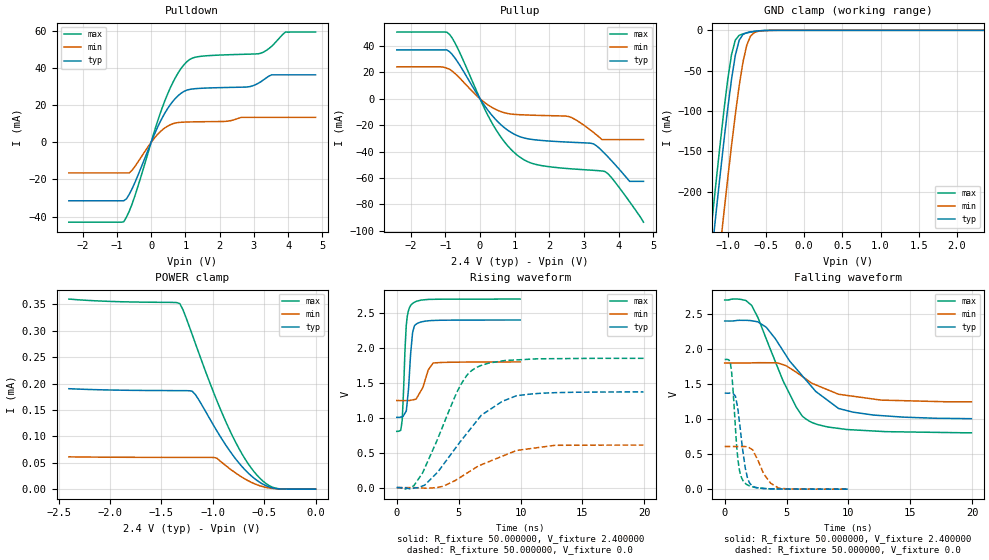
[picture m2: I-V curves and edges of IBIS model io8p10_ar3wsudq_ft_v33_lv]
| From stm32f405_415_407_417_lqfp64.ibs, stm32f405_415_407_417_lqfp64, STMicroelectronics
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|   Model io8p10_ar3wsudq_ft_v33_lv
[Model]  io8p10_ar3wsudq_ft_v33_lv
Model_type I/O
Polarity   Non-Inverting
Enable   Active-Low
Vinl =   0.720000V
Vinh =   1.680000V
Vmeas =  1.200000V
Cref =   40.000000pF
Rref =   100.000000M
Vref =   0.0V
C_comp   3.739400pF   3.690400pF   3.817400pF
[Temperature Range]   25.000000   0.125000k   -40.000000
[Pullup Reference]   2.400000V   1.800000V   2.700000V
[Pulldown Reference]   0.0V   0.0V   0.0V
[POWER Clamp Reference]   2.400000V   1.800000V   2.700000V
[GND Clamp Reference]   0.0V   0.0V   0.0V
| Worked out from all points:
|   slope of the pulldown table from 0 to 0.36 V, typ, clamps not added: 25 ohm
|   slope of the pullup table from 0 to 0.36 V, typ, clamps not added: 27.7 ohm
|   GND clamp passes 1 mA (typ) near -0.62 V on its own axis
|   rising waveform, R_fixture 50.000000, V_fixture 2.400000: 20-80 % time 349ps typ, 703ps min, 272ps max; typ from 1.01 V to 2.4 V
|   rising waveform, R_fixture 50.000000, V_fixture 0.0: 20-80 % time 3.81ns typ, 4.15ns min, 2.72ns max; typ from 0 V to 1.37 V
|   falling waveform, R_fixture 50.000000, V_fixture 2.400000: 20-80 % time 4.01ns typ, 3.55ns min, 2.78ns max; typ from 2.4 V to 1.01 V
|   falling waveform, R_fixture 50.000000, V_fixture 0.0: 20-80 % time 600ps typ, 1.08ns min, 462ps max; typ from 1.37 V to 0 V
[Pulldown]
|Voltage   I(typ)   I(min)   I(max)
-2.4V     -31.47mA   -16.45mA   -43.01mA
-800mV    -31.47mA   -16.45mA   -42.85mA
-480mV    -21.98mA   -13.17mA   -29.21mA
80mV      3.63mA     1.966mA    5.014mA
480mV     18.16mA    8.738mA    26.02mA
800mV     25.38mA    10.72mA    37.77mA
1.12V     28.53mA    11.02mA    44.6mA
2.8V      29.84mA    13.49mA    47.53mA
3.2V      32.65mA    13.49mA    48.04mA
3.52V     36.4mA     13.49mA    51.83mA
3.92V     36.4mA     13.49mA    59.44mA
4.8V      36.4mA     13.49mA    59.44mA
[Pullup]
|Voltage   I(typ)   I(min)   I(max)
-2.4V     36.89mA    24.04mA    50.33mA
-960mV    36.89mA    23.05mA    50.33mA
-640mV    27.65mA    17.04mA    37.98mA
320mV     -11.75mA   -6.207mA   -17.08mA
640mV     -20.52mA   -10.1mA    -30.35mA
960mV     -26.47mA   -11.82mA   -40.02mA
1.52V     -30.88mA   -12.51mA   -49.05mA
2.56V     -32.88mA   -13.52mA   -52.9mA
3.28V     -34.25mA   -25.62mA   -54.18mA
3.6V      -41.44mA   -30.97mA   -55.03mA
4.32V     -62.55mA   -30.97mA   -77.98mA
4.72V     -62.55mA   -30.97mA   -93.4mA
[GND_clamp]
|Voltage   I(typ)   I(min)   I(max)
-2.4V     -1.437A    -1.518A    -1.411A
-1.25V    -315.9mA   -407.2mA   -278.2mA
-1.2V     -270.1mA   -361.3mA   -232.1mA
-1.15V    -225mA     -316mA     -186.8mA
-1.1V     -180.9mA   -271.3mA   -142.7mA
-1.05V    -138.2mA   -227.5mA   -100.5mA
-950mV    -61.14mA   -143.6mA   -30.43mA
-900mV    -31.23mA   -104.7mA   -12.14mA
-850mV    -12.49mA   -69.4mA    -6.221mA
-750mV    -2.898mA   -18.35mA   -3.18mA
-600mV    -750.2uA   -1.218mA   -738.3uA
2.35V     0A         0A         0A
[POWER_clamp]
|Voltage   I(typ)   I(min)   I(max)
-2.4V     190.2uA    61.19uA    359.9uA
-1.32V    186.6uA    60.14uA    351.2uA
-1.29V    186.5uA    60.13uA    339.6uA
-1.2V     185.4uA    60.11uA    292.6uA
-1.17V    179.2uA    60.11uA    276.3uA
-960mV    110.2uA    58.62uA    167.5uA
-870mV    82.44uA    43.99uA    126.3uA
-750mV    50.58uA    26.92uA    78.64uA
-630mV    25.94uA    13.41uA    41.02uA
-510mV    9.22uA     4.527uA    14.97uA
-420mV    2.425uA    1.38uA     3.75uA
0V        0A         0A         0A
[Ramp]
| variable   typ   min   max
dV/dt_r  0.82218/3.80846n   0.36559/4.15535n   1.11096/2.71388n
dV/dt_f  0.83394/4.01279n   0.33414/3.67345n   1.13649/2.77628n
R_load = 50.000000
[Rising Waveform]
R_fixture= 50.000000
V_fixture= 2.400000
V_fixture_min= 1.800000
V_fixture_max= 2.700000
|time   V(typ)   V(min)   V(max)
0s        1.006V     1.247V     804.9mV
320.3ps   1.01V      1.247V     821.4mV
440.4ps   1.015V     1.247V     971.8mV
660.7ps   1.066V     1.247V     1.961V
760.8ps   1.095V     1.246V     2.308V
961ps     1.442V     1.246V     2.542V
1.201ns   2.074V     1.254V     2.625V
1.441ns   2.321V     1.262V     2.656V
2.943ns   2.393V     1.785V     2.696V
9.97ns    2.4V       1.8V       2.7V
[Rising Waveform]
R_fixture= 50.000000
V_fixture= 0.0
V_fixture_min= 0.0
V_fixture_max= 0.0
|time   V(typ)   V(min)   V(max)
0s        77.24uV    35.37uV    227.8uV
1.361ns   -8.79mV    -471.8uV   24.32mV
2.082ns   23.76mV    -6.375mV   209.7mV
3.323ns   224.9mV    3.815mV    706.8mV
4.925ns   608.8mV    124.2mV    1.389V
5.646ns   772.3mV    204.4mV    1.604V
6.446ns   950.7mV    293.5mV    1.721V
9.65ns    1.314V     529.7mV    1.828V
12.77ns   1.359V     605.7mV    1.846V
19.94ns   1.37V      609.1mV    1.851V
[Falling Waveform]
R_fixture= 50.000000
V_fixture= 2.400000
V_fixture_min= 1.800000
V_fixture_max= 2.700000
|time   V(typ)   V(min)   V(max)
0s        2.4V       1.8V       2.7V
1.602ns   2.41V      1.8V       2.698V
2.202ns   2.403V     1.802V     2.616V
3.363ns   2.309V     1.805V     2.143V
4.725ns   1.974V     1.776V     1.543V
5.806ns   1.715V     1.667V     1.166V
6.887ns   1.492V     1.531V     966.3mV
9.209ns   1.151V     1.355V     866.9mV
10.41ns   1.098V     1.325V     846mV
19.94ns   1.006V     1.247V     804.9mV
[Falling Waveform]
R_fixture= 50.000000
V_fixture= 0.0
V_fixture_min= 0.0
V_fixture_max= 0.0
|time   V(typ)   V(min)   V(max)
0s        1.37V      609.1mV    1.851V
460.5ps   1.371V     609mV      1.796V
660.7ps   1.367V     608.9mV    1.449V
860.9ps   1.328V     608.8mV    893.3mV
1.181ns   975.9mV    608.6mV    280.9mV
1.622ns   350.9mV    608.1mV    89.08mV
2.242ns   46.35mV    564mV      34.16mV
3.143ns   10.02mV    223.3mV    11.01mV
4.364ns   3.129mV    14.27mV    3.003mV
9.97ns    77.24uV    35.37uV    227.8uV
